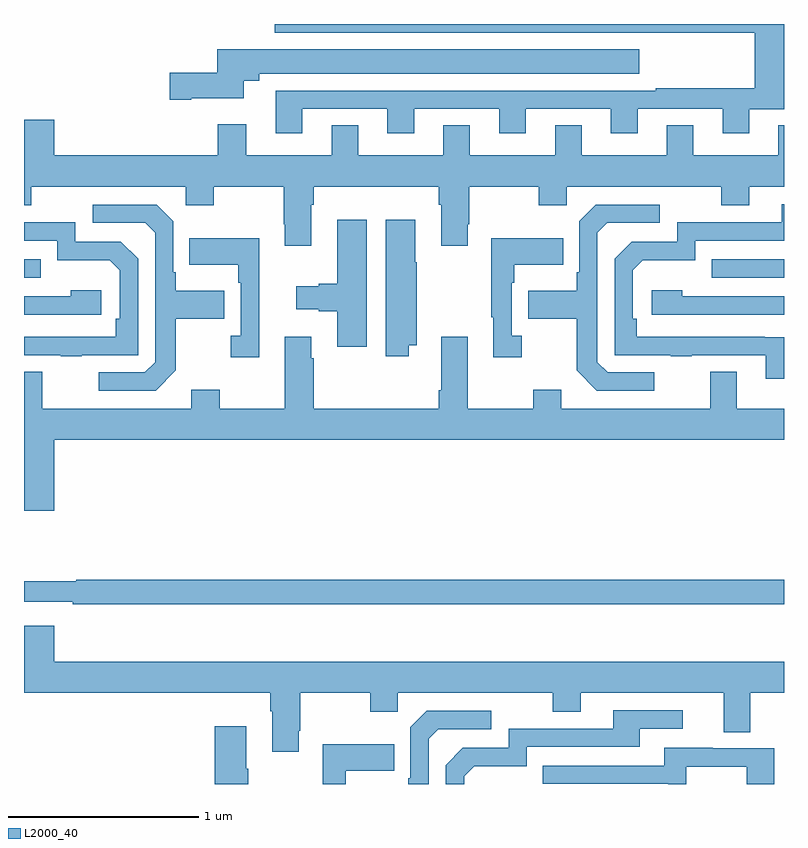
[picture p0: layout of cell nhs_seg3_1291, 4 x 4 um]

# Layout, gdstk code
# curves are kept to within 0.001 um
import gdstk
lib = gdstk.Library(unit=1e-6, precision=1e-09)
def R(c, l, rs):  # rectangles x0, y0, x1, y1
    for r in rs: c.add(gdstk.rectangle(r[:2], r[2:], *l))
def P(c, l, *ps):  # polygons
    for p in ps: c.add(gdstk.Polygon(p, *l))
L2000_40 = (2000, 40)

nhs_seg3_1291 = lib.new_cell('nhs_seg3_1291')
R(nhs_seg3_1291, L2000_40, [(177,739.065,177.089,739.161), (180.619,739.065,181,739.161)])
P(nhs_seg3_1291, L2000_40, [(178.465,739.953),(178.913,739.953),(178.913,739.824),(179.053,739.824),(179.053,739.953),(179.501,739.953),(179.501,739.824),(179.641,739.824),(179.641,739.953),(180.089,739.953),(180.089,739.824),(180.229,739.824),(180.229,739.953),(180.677,739.953),(180.677,739.824),(180.817,739.824),(180.817,739.952),(181,739.952),(181,740.4),(178.319,740.4),(178.319,740.354),(180.845,740.354),(180.845,740.062),(180.325,740.062),(180.325,740.049),(178.325,740.049),(178.325,739.824),(178.465,739.824)],
  [(177.88,740.009),(178.156,740.009),(178.156,740.102),(178.237,740.102),(178.237,740.138),(180.238,740.138),(180.238,740.266),(178.016,740.266),(178.016,740.144),(177.768,740.144),(177.768,740.002),(177.88,740.002)],
  [(178.513,739.448),(178.526,739.448),(178.526,739.544),(179.183,739.544),(179.183,739.448),(179.195,739.448),(179.195,739.233),(179.335,739.233),(179.335,739.345),(179.343,739.345),(179.343,739.544),(179.71,739.544),(179.71,739.445),(179.856,739.445),(179.856,739.544),(180.67,739.544),(180.67,739.445),(180.817,739.445),(180.817,739.544),(181,739.544),(181,739.867),(180.971,739.867),(180.971,739.708),(180.523,739.708),(180.523,739.868),(180.383,739.868),(180.383,739.708),(179.935,739.708),(179.935,739.868),(179.795,739.868),(179.795,739.708),(179.347,739.708),(179.347,739.868),(179.207,739.868),(179.207,739.708),(178.759,739.708),(178.759,739.868),(178.619,739.868),(178.619,739.708),(178.171,739.708),(178.171,739.873),(178.019,739.873),(178.019,739.708),(177.16,739.708),(177.16,739.897),(177,739.897),(177,739.445),(177.039,739.445),(177.039,739.544),(177.852,739.544),(177.852,739.445),(177.999,739.445),(177.999,739.544),(178.366,739.544),(178.366,739.345),(178.373,739.345),(178.373,739.233),(178.513,739.233)],
  [(181,738.752),(180.224,738.753),(180.224,738.85),(180.204,738.85),(180.204,739.104),(180.257,739.157),(180.534,739.157),(180.534,739.26),(181,739.26),(181,739.452),(180.989,739.452),(180.989,739.356),(180.438,739.356),(180.438,739.254),(180.198,739.254),(180.108,739.164),(180.108,738.657),(180.403,738.657),(180.403,738.652),(180.515,738.652),(180.515,738.657),(180.905,738.657),(180.905,738.534),(181,738.534)],
  [(180.316,738.567),(180.072,738.567),(180.018,738.621),(180.018,739.302),(180.069,739.353),(180.346,739.353),(180.346,739.449),(180.009,739.449),(179.922,739.362),(179.922,739.093),(179.91,739.093),(179.91,738.997),(179.653,738.997),(179.653,738.85),(179.91,738.85),(179.91,738.577),(180.015,738.471),(180.316,738.471)],
  [(177.799,738.577),(177.799,738.85),(178.055,738.85),(178.055,738.997),(177.799,738.997),(177.799,739.093),(177.786,739.093),(177.786,739.362),(177.699,739.449),(177.363,739.449),(177.363,739.353),(177.639,739.353),(177.69,739.302),(177.69,738.621),(177.636,738.567),(177.393,738.567),(177.393,738.471),(177.693,738.471)],
  [(178.804,739.369),(178.649,739.369),(178.649,739.034),(178.55,739.034),(178.55,739.021),(178.434,739.021),(178.434,738.899),(178.55,738.899),(178.55,738.887),(178.649,738.887),(178.649,738.702),(178.804,738.702)],
  [(179.026,738.71),(179.067,738.71),(179.067,739.145),(179.059,739.145),(179.059,739.369),(178.904,739.369),(178.904,738.651),(179.026,738.651)],
  [(177.305,738.657),(177.6,738.657),(177.6,739.164),(177.51,739.254),(177.27,739.254),(177.27,739.356),(177,739.356),(177,739.26),(177.174,739.26),(177.174,739.157),(177.451,739.157),(177.504,739.104),(177.504,738.85),(177.484,738.85),(177.484,738.753),(177,738.753),(177,738.657),(177.193,738.657),(177.193,738.652),(177.305,738.652)],
  [(178.238,739.273),(177.871,739.273),(177.871,739.133),(178.128,739.133),(178.128,739.037),(178.14,739.037),(178.14,738.758),(178.089,738.758),(178.089,738.645),(178.238,738.645)],
  [(179.62,738.758),(179.568,738.758),(179.568,739.037),(179.581,739.037),(179.581,739.133),(179.837,739.133),(179.837,739.273),(179.46,739.273),(179.46,738.857),(179.471,738.857),(179.471,738.645),(179.62,738.645)],
  [(177.406,739),(177.245,739),(177.245,738.966),(177,738.966),(177,738.87),(177.406,738.87)],
  [(181,738.966),(180.464,738.966),(180.464,739),(180.303,739),(180.303,738.87),(181,738.87)],
  [(177.16,738.212),(181,738.212),(181,738.376),(180.751,738.376),(180.751,738.571),(180.611,738.571),(180.611,738.376),(179.827,738.376),(179.827,738.475),(179.68,738.475),(179.68,738.376),(179.335,738.376),(179.335,738.754),(179.195,738.754),(179.195,738.472),(179.183,738.472),(179.183,738.376),(178.526,738.376),(178.526,738.641),(178.513,738.641),(178.513,738.754),(178.373,738.754),(178.373,738.376),(178.029,738.376),(178.029,738.475),(177.881,738.475),(177.881,738.376),(177.097,738.376),(177.097,738.571),(177,738.571),(177,737.838),(177.16,737.838)],
  [(181,737.474),(177.274,737.474),(177.274,737.467),(177,737.467),(177,737.358),(177.256,737.358),(177.256,737.346),(181,737.346)],
  [(178.447,736.681),(178.455,736.681),(178.455,736.88),(178.822,736.88),(178.822,736.781),(178.968,736.781),(178.968,736.88),(179.782,736.88),(179.782,736.781),(179.929,736.781),(179.929,736.88),(180.683,736.88),(180.683,736.672),(180.823,736.672),(180.823,736.88),(181,736.88),(181,737.044),(177.16,737.044),(177.16,737.233),(177,737.233),(177,736.88),(178.295,736.88),(178.295,736.784),(178.307,736.784),(178.307,736.569),(178.447,736.569)],
  [(179.316,736.44),(179.369,736.493),(179.646,736.493),(179.646,736.596),(180.241,736.596),(180.241,736.692),(180.466,736.692),(180.466,736.788),(180.101,736.788),(180.101,736.692),(179.55,736.692),(179.55,736.59),(179.31,736.59),(179.22,736.5),(179.22,736.4),(179.316,736.4)],
  [(179.13,736.638),(179.181,736.689),(179.458,736.689),(179.458,736.785),(179.121,736.785),(179.034,736.698),(179.034,736.429),(179.022,736.429),(179.022,736.4),(179.13,736.4)],
  [(178.179,736.481),(178.171,736.481),(178.171,736.705),(178.004,736.705),(178.004,736.4),(178.179,736.4)],
  [(178.693,736.469),(178.949,736.469),(178.949,736.609),(178.572,736.609),(178.572,736.4),(178.693,736.4)],
  [(180.486,736.491),(180.804,736.491),(180.804,736.4),(180.949,736.4),(180.949,736.587),(180.625,736.587),(180.625,736.591),(180.371,736.591),(180.371,736.497),(179.731,736.497),(179.731,736.401),(180.39,736.401),(180.39,736.4),(180.486,736.4)])

lib.write_gds('nhs_seg3_1291.gds')
